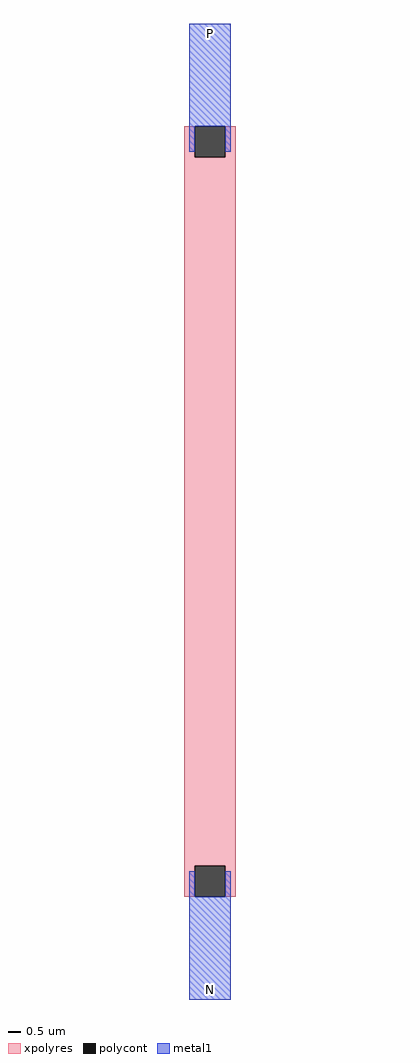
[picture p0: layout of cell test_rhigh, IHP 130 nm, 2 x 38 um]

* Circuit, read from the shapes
.subckt test_rhigh P N
XR1 N P xpolyres w=3.6u l=15.8667u
.ends

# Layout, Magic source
magic
tech ihp-sg13g2
<< polycont >>
rect 1040 3880 1160 4000
rect 1040 1000 1160 1120
<< xpolyres >>
rect 1000 3880 1040 4000
rect 1160 3880 1200 4000
rect 1000 1120 1200 3880
rect 1000 1000 1040 1120
rect 1160 1000 1200 1120
<< metal1 >>
rect 1020 4000 1180 4400
rect 1020 3900 1040 4000
rect 1160 3900 1180 4000
rect 1020 1000 1040 1100
rect 1160 1000 1180 1100
rect 1020 600 1180 1000
<< labels >>
rlabel metal1 1040 4320 1160 4400 1 P
port 1 n
rlabel metal1 1040 600 1160 680 1 N
port 2 n
<< end >>
